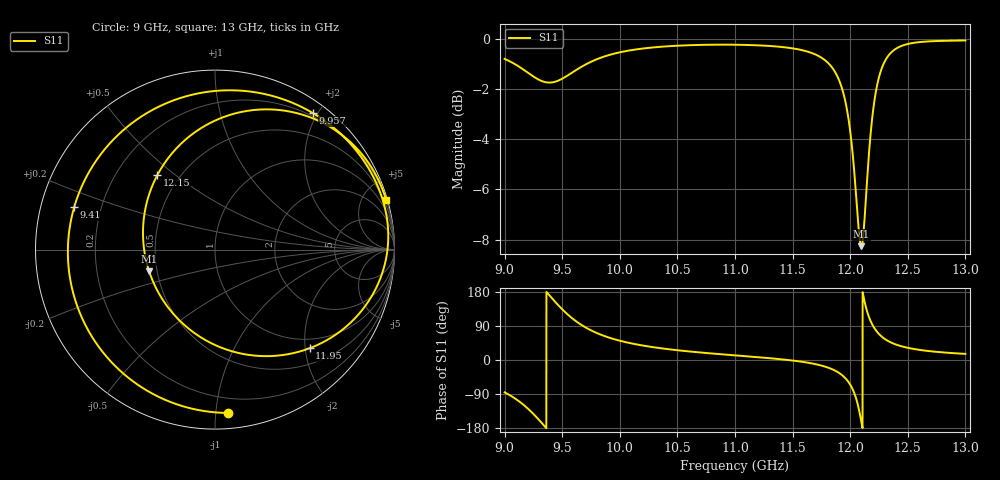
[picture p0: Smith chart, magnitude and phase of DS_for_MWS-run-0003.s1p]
! TOUCHSTONE file generated by CST DESIGN STUDIO
! Date and time: Wed Feb  5 13:44:15 2025
! Project name: C:\Work\MatlabApps\UnitCellOptimizationMatlab\CST\unitcell.cst
! Tree item: Tasks\Sweep1\SPara1\S-Parameters
! Header version: 2024
! Port assignment regex: !\s*Touchstone port\s*([0-9]+)\s*=\s*(CST MWS port|CST DES external port|CST DES block port)\s*(.+)\s* \(\"(.*)\"\)(\s*mode\s*([0-9]+))?.*
! Touchstone port assignment:
! Touchstone port 1 = CST DES external port 1 ("")
# GHz S MA R 50
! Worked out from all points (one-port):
!   4001 points, 9 GHz to 13 GHz, reference 50 ohm
!   lowest |S11| = -8.3 dB at 12.1 GHz (marker M1), VSWR 2.26, Z = 22.6 - j6.48 ohm
!   |S11| at or under -10 dB: nowhere
!   S11 on the Smith chart (normalised r, x): 9 GHz: 0.10, -1.08; 9.41 GHz: 0.10, +0.15; 9.957 GHz: 0.16, +1.93; 11.95 GHz: 0.80, -2.09; 12.15 GHz: 0.38, +0.43; 13 GHz: 0.16, +7.05
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9  0.9129 -85.5
9.109  0.8858 -105.4
9.2  0.8576 -127.7
9.314  0.8262 -163.3
9.41  0.8193 163.3
9.5  0.8336 133.8
9.581  0.8558 111.5
9.672  0.8817 91.6
9.807  0.9127 70.3
9.957  0.936 54.4
10  0.9409 50.9
10.215  0.9583 37.3
10.5  0.9699 25.7
11  0.9744 12.2
11.5  0.9582 -1.4
11.8  0.8998 -19.2
11.886  0.8451 -30.9
11.952  0.7616 -46.2
12  0.6554 -64.9
12.05  0.4921 -100.1
12.096  0.3863 -161.6
12.121  0.4262 159.4
12.147  0.5243 127.9
12.19  0.6924 94.6
12.24  0.8216 71.8
12.345  0.9346 47.6
12.5  0.9776 32.1
13  0.9936 16.1
